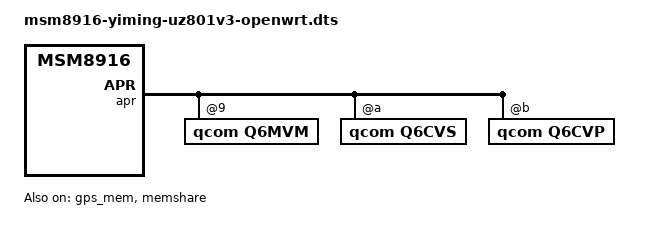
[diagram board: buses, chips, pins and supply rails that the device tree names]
// SPDX-License-Identifier: GPL-2.0-only
/*
 * Yiming UZ801 v3.0 4G modem stick, OpenWrt additions to the mainline devicetree.
 * Stock firmware: Android 4.4.4 "msm8916_32_512", baseband N958St_Z85_CN_JSXPH1IDN1H213.
 * The stock image has no Bluetooth stack (no BluetoothExt/libbt-hci/bluetooth config).
 */

/dts-v1/;

#include "msm8916-yiming-uz801v3.dts"
#include "msm8916-openwrt-ramoops.dtsi"

/ {
	aliases {
		led-boot = &led_r;
		led-failsafe = &led_r;
		led-running = &led_r;
		led-upgrade = &led_r;
	};
};

/* GPS: modem requests memory through the memshare QMI service (needs memshare patches) */
&gps_mem {
	status = "okay";
};

&memshare {
	status = "okay";
};

/*
 * Audio stage 1: only the APR bus to the modem QDSP6 with its q6core and q6afe
 * services (answered by the modem firmware on "apr_audio_svc"). The q6asm/q6adm
 * services have no driver yet and no sound card is defined; lpass is left alone.
 */
/*
 * Audio stage 3: the modem voice services (MVM/CVS/CVP) for the q6voice
 * drivers. Probing them sends nothing to the DSP; voice sessions are only
 * created on request (by the rtproxy PCM driver below). The q6voice-dais
 * child (ASoC CS-VOICE DAI) is left out; the rtproxy sound card is used.
 */
&apr {
	status = "okay";

	q6mvm: service@9 {
		compatible = "qcom,q6mvm";
		reg = <APR_SVC_ADSP_MVM>;
	};

	q6cvs: service@a {
		compatible = "qcom,q6cvs";
		reg = <APR_SVC_ADSP_CVS>;
	};

	q6cvp: service@b {
		compatible = "qcom,q6cvp";
		reg = <APR_SVC_ADSP_CVP>;
	};
};

/*
 * Audio stage 5: CS voice call audio as an ALSA sound card. The rtproxy
 * child of q6afe is the PCM (capture = call downlink, playback = call
 * uplink, through the AFE RT proxy ports 0x2000/0x2001); the card ties it to
 * the dummy codec. No LPASS, MI2S or codec hardware is involved. The call
 * path is started while a PCM stream is open, not at boot.
 */
&q6afe {
	q6rtproxy: rtproxy {
		compatible = "qcom,q6afe-rtproxy-pcm";
		#sound-dai-cells = <0>;
	};
};

/ {
	sound {
		compatible = "qcom,q6afe-rtproxy-card";
		model = "MSM8916 Voice";
		sound-dai = <&q6rtproxy>;
	};
};

/*
 * Proprietary firmware is read from the stock "modem" (vfat) and "persist"
 * (ext4) partitions, mounted read-only at /lib/firmware/modem and
 * /lib/firmware/persist by /lib/preinit/79_mount_firmware.
 */
&mpss {
	firmware-name = "modem/image/mba.mbn", "modem/image/modem.mdt";
};

&wcnss {
	firmware-name = "modem/image/wcnss.mdt";
};

/* read by both wcnss_ctrl (NV download) and wcn36xx (parent node) */
&wcnss_ctrl {
	firmware-name = "persist/WCNSS_qcom_wlan_nv.bin";
};

/*
 * The PMIC RTC has no backup battery and is read-only for Linux (owned by
 * TZ): it counts from power-on, so loading it sets the clock back to 1970.
 */
&pm8916_0 {
	rtc@6000 {
		status = "disabled";
	};
};
